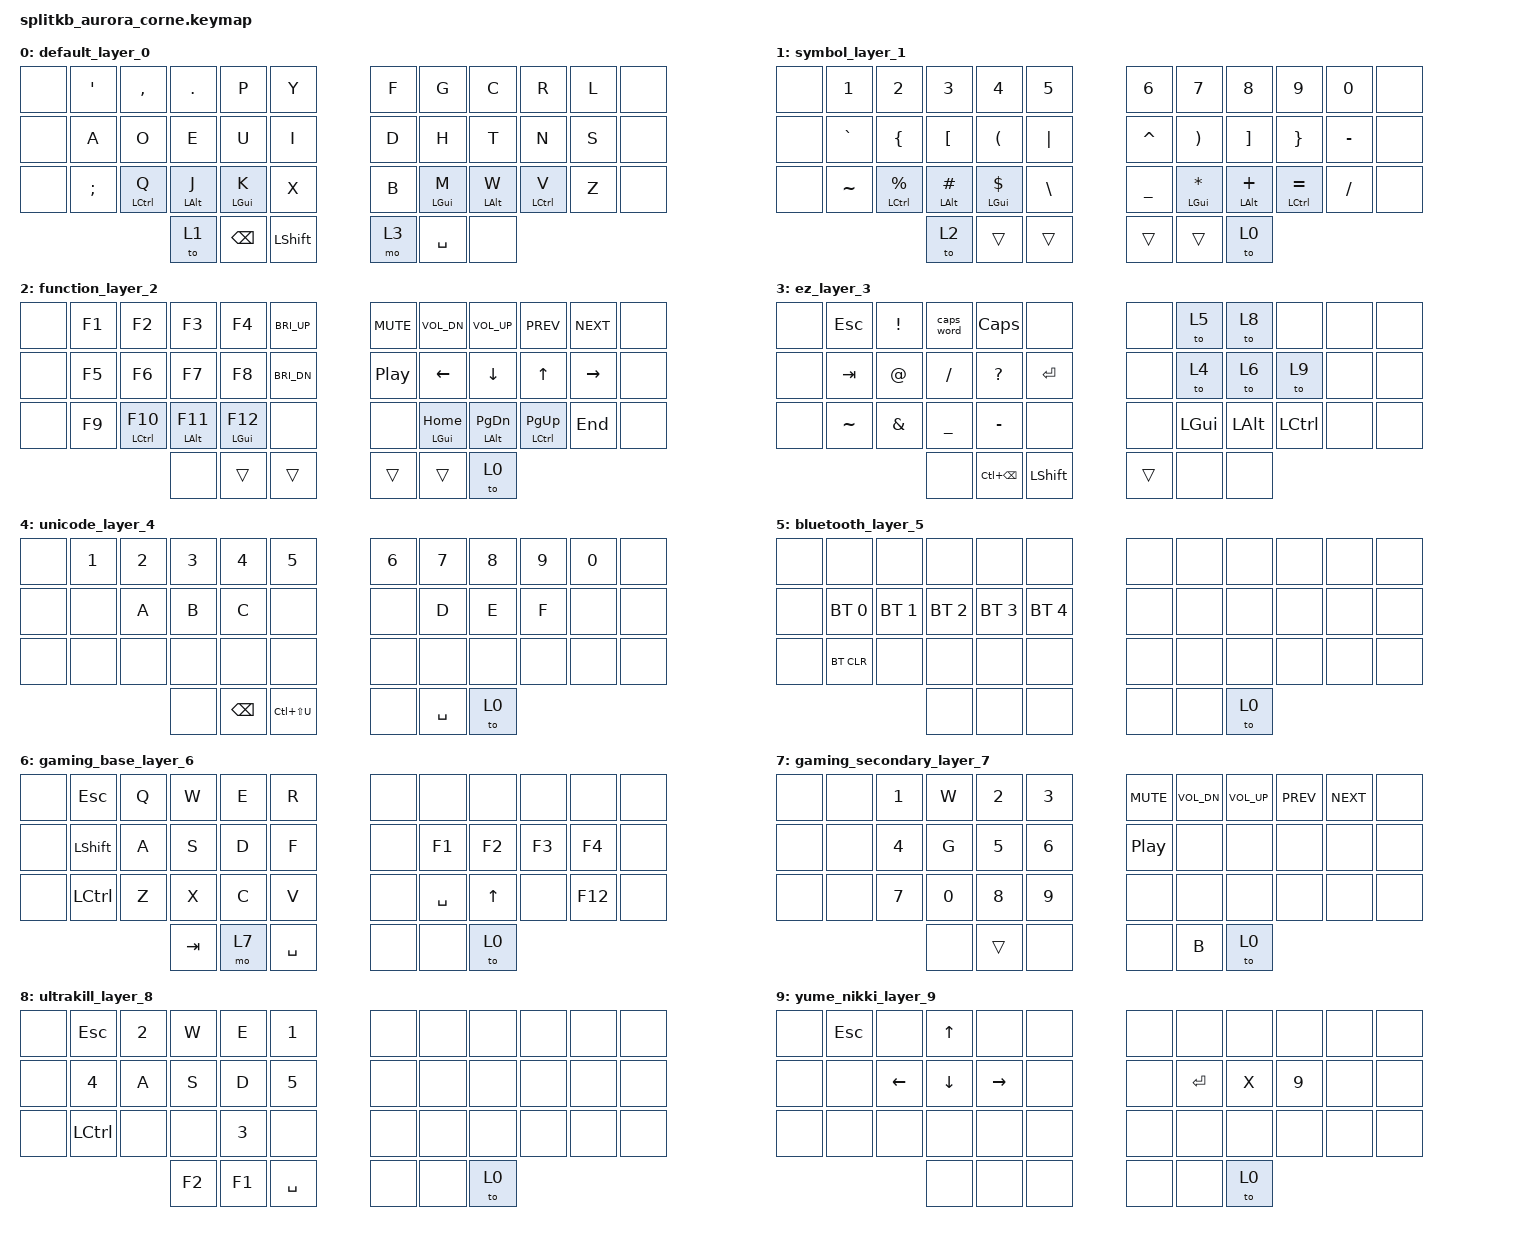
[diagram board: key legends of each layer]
/*
 * Copyright (c) 2020 The ZMK Contributors
 *
 * SPDX-License-Identifier: MIT
 */

#include <behaviors.dtsi>
#include <dt-bindings/zmk/keys.h>
#include <dt-bindings/zmk/bt.h>

&mt {
    flavor = "balanced";
    tapping-term-ms = <160>;
    quick-tap-ms = <160>;
};

/ {
        keymap {
                compatible = "zmk,keymap";

                default_layer_0 {
// -----------------------------------------------------------------------------------------
// |      |  '  |  ,  |  .  |  P  |  Y  |   |  F  |  G  |  C  |  R  |  L  |      |
// |      |  A  |  O  |  E  |  U  |  I  |   |  D  |  H  |  T  |  N  |  S  |      |
// |      |  ;  |  Q  |  J  |  K  |  X  |   |  B  |  M  |  W  |  V  |  Z  |      |
//                    |  L1 | BSPC| SHFT|   | L3  | SPC |     |
                        bindings = <
   &none  &kp SQT   &kp COMMA    &kp DOT     &kp P       &kp Y            &kp F  &kp G       &kp C       &kp R        &kp L  &none
   &none  &kp A     &kp O        &kp E       &kp U       &kp I            &kp D  &kp H       &kp T       &kp N        &kp S  &none
   &none  &kp SEMI  &mt LCTRL Q  &mt LALT J  &mt LGUI K  &kp X            &kp B  &mt LGUI M  &mt LALT W  &mt LCTRL V  &kp Z  &none
                                 &to 1       &kp BSPC    &kp LSHFT        &mo 3  &kp SPC     &none
                        >;
                };
                
                symbol_layer_1 {
// -----------------------------------------------------------------------------------------
// |      |  1  |  2  |  3  |  4  |  5  |   |  6  |  7  |  8  |  9  |  0  |      |
// |      |  `  |  {  |  [  |  (  | "|" |   |  ^  |  )  |  ]  |  }  |  -  |      |
// |      |  ~  |  %  |  #  |  $  |  \  |   |  _  |  *  |  +  |  =  |  /  |      |
//                    |  L2 | BSPC| SHFT|   | L3  | SPC | L0  |
                        bindings = <
   &none  &kp N1     &kp N2           &kp N3         &kp N4         &kp N5          &kp N6     &kp N7         &kp N8         &kp N9           &kp N0     &none
   &none  &kp GRAVE  &kp LBRC         &kp LBKT       &kp LPAR       &kp PIPE        &kp CARET  &kp RPAR       &kp RBKT       &kp RBRC         &kp MINUS  &none
   &none  &kp TILDE  &mt LCTRL PRCNT  &mt LALT HASH  &mt LGUI DLLR  &kp BSLH        &kp UNDER  &mt LGUI STAR  &mt LALT PLUS  &mt LCTRL EQUAL  &kp FSLH   &none
                                      &to 2          &trans         &trans          &trans     &trans         &to 0
                        >;
                };

                function_layer_2 {
// -----------------------------------------------------------------------------------------
// |      |  F1 |  F2 |  F3 |  F4 | BR+ |   |MUTE |VOL- |VOL+ |PREV |NEXT |      |
// |      |  F5 |  F6 |  F7 |  F8 | BR- |   |PAUSE|LEFT |DOWN | UP  |RIGHT|      |
// |      |  F9 | F10 | F11 | F12 |     |   |     |HOME |PGDN |PGUP | END |      |
//                    |     | BSPC| SHFT|   | L3  | SPC | L0  |
                        bindings = <
   &none  &kp F1  &kp F2         &kp F3        &kp F4        &kp C_BRI_UP        &kp C_MUTE  &kp C_VOL_DN   &kp C_VOL_UP    &kp C_PREV       &kp C_NEXT  &none
   &none  &kp F5  &kp F6         &kp F7        &kp F8        &kp C_BRI_DN        &kp C_PP    &kp LEFT       &kp DOWN        &kp UP           &kp RIGHT   &none
   &none  &kp F9  &mt LCTRL F10  &mt LALT F11  &mt LGUI F12  &none               &none       &mt LGUI HOME  &mt LALT PG_DN  &mt LCTRL PG_UP  &kp END     &none
                    	         &none         &trans        &trans              &trans      &trans         &to 0
                        >;
                };
                
                ez_layer_3 {
// -----------------------------------------------------------------------------------------
// |      | ESC |  !  |CAPSW|CAPSL|     |   |     | L5  | L8  |     |     |      |
// |      | TAB |  @  |  /  |  ?  | ENTR|   |     | L4  | L6  | L9  |     |      |
// |      |  ~  |  &  |  _  |  -  |     |   |     | GUI | ALT |CTRL |     |      |
//                    |     |BSPC+| SHFT|   |     |     |     |
                        bindings = <
   &none  &kp ESC    &kp EXCL  &caps_word  &kp CAPS      &none            &none   &to 5     &to 8     &none      &none  &none
   &none  &kp TAB    &kp AT    &kp FSLH    &kp QMARK     &kp RET          &none   &to 4     &to 6     &to 9      &none  &none
   &none  &kp TILDE  &kp AMPS  &kp UNDER   &kp MINUS     &none            &none   &kp LGUI  &kp LALT  &kp LCTRL  &none  &none
                               &none       &kp LC(BSPC)  &kp LSHFT        &trans  &none     &none
                        >;
                };
                
                unicode_layer_4 {
// -----------------------------------------------------------------------------------------
// |      |  1  |  2  |  3  |  4  |  5  |   |  6  |  7  |  8  |  9  |  0  |      |
// |      |     |  A  |  B  |  C  |     |   |     |  D  |  E  |  F  |     |      |
// |      |     |     |     |     |     |   |     |     |     |     |     |      |
//                    |     | BSPC|  U_ |   |     | SPC | L0  |
                        bindings = <
   &none  &kp N1  &kp N2  &kp N3  &kp N4    &kp N5               &kp N6  &kp N7   &kp N8  &kp N9  &kp N0  &none
   &none  &none   &kp A   &kp B   &kp C     &none                &none   &kp D    &kp E   &kp F   &none   &none
   &none  &none   &none   &none   &none     &none                &none   &none    &none   &none   &none   &none
                          &none   &kp BSPC  &kp LC(LS(U))        &none   &kp SPC  &to 0
                        >;
                };
                
                bluetooth_layer_5 {
// -----------------------------------------------------------------------------------------
// |      |     |     |     |     |     |   |     |     |     |     |     |      |
// |      | BT1 | BT2 | BT3 | BT4 | BT5 |   |     |     |     |     |     |      |
// |      |BTCLR|     |     |     |     |   |     |     |     |     |     |      |
//                    |     |     |     |   |     |     | L0  |
                        bindings = <
   &none  &none         &none         &none         &none          &none               &none  &none  &none  &none  &none  &none
   &none  &bt BT_SEL 0  &bt BT_SEL 1  &bt BT_SEL 2  &bt BT_SEL 3   &bt BT_SEL 4        &none  &none  &none  &none  &none  &none
   &none  &bt BT_CLR    &none         &none         &none          &none               &none  &none  &none  &none  &none  &none
                    	              &none         &none          &none               &none  &none  &to 0
                        >;
                };

                gaming_base_layer_6 {
// -----------------------------------------------------------------------------------------
// |      | ESC |  Q  |  W  |  E  |  R  |   |     |     |     |     |     |      |
// |      | SHFT|  A  |  S  |  D  |  F  |   |     | F1  | F2  | F3  | F4  |      |
// |      | CTRL|  Z  |  X  |  C  |  V  |   |     | SPC | UP  |     | F12 |      |
//                    | TAB |  L7 | SPC |   |     |     | L0  |
                        bindings = <
   &none  &kp ESC    &kp Q  &kp W    &kp E  &kp R          &none  &none    &none   &none   &none    &none
   &none  &kp LSHFT  &kp A  &kp S    &kp D  &kp F          &none  &kp F1   &kp F2  &kp F3  &kp F4   &none
   &none  &kp LCTRL  &kp Z  &kp X    &kp C  &kp V          &none  &kp SPC  &kp UP  &none   &kp F12  &none
                            &kp TAB  &mo 7  &kp SPC        &none  &none    &to 0
                        >;
                };

                gaming_secondary_layer_7 {
// -----------------------------------------------------------------------------------------
// |      |     |  1  |  W  |  2  |  3  |   |MUTE |VOL- |VOL+ |PREV |NEXT |      |
// |      |     |  4  |  G  |  5  |  6  |   |PAUSE|     |     |     |     |      |
// |      |     |  7  |  0  |  8  |  9  |   |     |     |     |     |     |      |
//                    |     |     |     |   |     |  B  | L0  |
                        bindings = <
   &none  &none  &kp N1  &kp W   &kp N2  &kp N3        &kp C_MUTE  &kp C_VOL_DN  &kp C_VOL_UP  &kp C_PREV  &kp C_NEXT  &none
   &none  &none  &kp N4  &kp G   &kp N5  &kp N6        &kp C_PP    &none         &none         &none       &none       &none
   &none  &none  &kp N7  &kp N0  &kp N8  &kp N9        &none       &none         &none         &none       &none       &none
                         &none   &trans  &none         &none       &kp B         &to 0
                        >;
                };

                ultrakill_layer_8 {
// -----------------------------------------------------------------------------------------
// |      | ESC |  2  |  W  |  E  |  1  |   |     |     |     |     |     |      |
// |      |  4  |  A  |  S  |  D  |  5  |   |     |     |     |     |     |      |
// |      | CTRL|     |     |  3  |     |   |     |     |     |     |     |      |
//                    |  F2 |  F1 | SPC |   |     |     | L0  |
                        bindings = <
   &none  &kp ESC    &kp N2  &kp W   &kp E   &kp N1         &none  &none  &none  &none  &none  &none
   &none  &kp N4     &kp A   &kp S   &kp D   &kp N5         &none  &none  &none  &none  &none  &none
   &none  &kp LCTRL  &none   &none   &kp N3  &none          &none  &none  &none  &none  &none  &none
                            &kp F2  &kp F1  &kp SPC        &none  &none  &to 0
                        >;
                };

                yume_nikki_layer_9 {
// -----------------------------------------------------------------------------------------
// |      | ESC |     |  UP |     |     |   |     |     |     |     |     |      |
// |      |     | LEFT| DOWN|RIGHT|     |   |     |ENTR |  X  |  9  |     |      |
// |      |     |     |     |     |     |   |     |     |     |     |     |      |
//                    |     |     |     |   |     |     | L0  |
                        bindings = <
   &none  &kp ESC  &none     &kp UP    &none      &none        &none  &none    &none  &none   &none  &none
   &none  &none    &kp LEFT  &kp DOWN  &kp RIGHT  &none        &none  &kp RET  &kp X  &kp N9  &none  &none
   &none  &none    &none     &none     &none      &none        &none  &none    &none  &none   &none  &none
                             &none     &none      &none        &none  &none    &to 0
                        >;
                };
        };
};

// template:

// -----------------------------------------------------------------------------------------
// |      |     |     |     |     |     |   |     |     |     |     |     |      |
// |      |     |     |     |     |     |   |     |     |     |     |     |      |
// |      |     |     |     |     |     |   |     |     |     |     |     |      |
//                    |     |     |     |   |     |     | L0  |
//                      bindings = <
// &none  &none  &none  &none  &none  &none        &none  &none  &none  &none  &none  &none
// &none  &none  &none  &none  &none  &none        &none  &none  &none  &none  &none  &none
// &none  &none  &none  &none  &none  &none        &none  &none  &none  &none  &none  &none
//                      &none  &none  &none        &none  &none  &to 0
